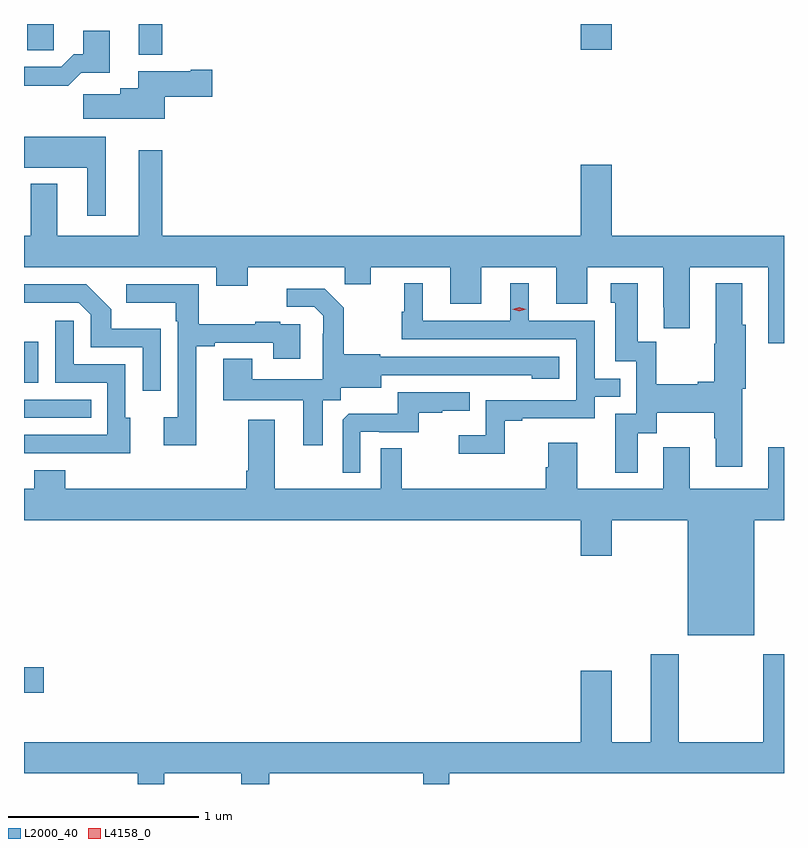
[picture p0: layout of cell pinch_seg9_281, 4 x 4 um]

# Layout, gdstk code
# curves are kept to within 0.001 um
import gdstk
lib = gdstk.Library(unit=1e-6, precision=1e-09)
def R(c, l, rs):  # rectangles x0, y0, x1, y1
    for r in rs: c.add(gdstk.rectangle(r[:2], r[2:], *l))
def P(c, l, *ps):  # polygons
    for p in ps: c.add(gdstk.Polygon(p, *l))
L2000_40 = (2000, 40)
L4158_0 = (4158, 0)

pinch_seg9_281 = lib.new_cell('pinch_seg9_281')
R(pinch_seg9_281, L2000_40, [(449.79,1186.187,449.893,1186.322), (449.79,1187.634,450.143,1187.73), (449.79,1187.819,449.866,1188.034), (450.395,1189.544,450.517,1189.707), (449.807,1189.57,449.946,1189.707), (452.72,1189.572,452.884,1189.707)])
P(pinch_seg9_281, L2000_40, [(450.092,1189.451),(450.241,1189.451),(450.241,1189.672),(450.101,1189.672),(450.101,1189.549),(450.052,1189.549),(449.985,1189.482),(449.79,1189.482),(449.79,1189.382),(450.023,1189.382)],
  [(450.532,1189.325),(450.781,1189.325),(450.781,1189.467),(450.668,1189.467),(450.668,1189.459),(450.392,1189.459),(450.392,1189.369),(450.296,1189.369),(450.296,1189.337),(450.102,1189.337),(450.102,1189.208),(450.532,1189.208)],
  [(450.22,1189.114),(449.79,1189.114),(449.79,1188.95),(450.122,1188.95),(450.122,1188.699),(450.22,1188.699)],
  [(453.79,1188.592),(452.884,1188.592),(452.884,1188.967),(452.72,1188.967),(452.72,1188.592),(450.517,1188.592),(450.517,1189.042),(450.395,1189.042),(450.395,1188.592),(449.965,1188.592),(449.965,1188.865),(449.825,1188.865),(449.825,1188.592),(449.79,1188.592),(449.79,1188.428),(450.803,1188.428),(450.803,1188.329),(450.967,1188.329),(450.967,1188.428),(451.477,1188.428),(451.477,1188.338),(451.615,1188.338),(451.615,1188.428),(452.033,1188.428),(452.033,1188.234),(452.197,1188.234),(452.197,1188.428),(452.591,1188.428),(452.591,1188.234),(452.755,1188.234),(452.755,1188.428),(453.155,1188.428),(453.155,1188.217),(453.158,1188.217),(453.158,1188.105),(453.295,1188.105),(453.295,1188.428),(453.707,1188.428),(453.707,1188.027),(453.79,1188.027)],
  [(452.319,1187.619),(452.413,1187.619),(452.413,1187.631),(452.793,1187.631),(452.793,1187.745),(452.927,1187.745),(452.927,1187.841),(452.793,1187.841),(452.793,1188.144),(452.446,1188.144),(452.446,1188.343),(452.348,1188.343),(452.348,1188.144),(451.888,1188.144),(451.888,1188.343),(451.79,1188.343),(451.79,1188.192),(451.779,1188.192),(451.779,1188.048),(452.697,1188.048),(452.697,1187.727),(452.22,1187.727),(452.22,1187.542),(452.079,1187.542),(452.079,1187.444),(452.319,1187.444)],
  [(453.019,1187.554),(453.121,1187.554),(453.121,1187.66),(453.424,1187.66),(453.424,1187.526),(453.431,1187.526),(453.431,1187.376),(453.571,1187.376),(453.571,1187.787),(453.589,1187.787),(453.589,1188.123),(453.571,1188.123),(453.571,1188.343),(453.431,1188.343),(453.431,1188.023),(453.424,1188.023),(453.424,1187.825),(453.335,1187.825),(453.335,1187.812),(453.117,1187.812),(453.117,1188.035),(453.019,1188.035),(453.019,1188.343),(452.879,1188.343),(452.879,1188.24),(452.903,1188.24),(452.903,1187.931),(453.012,1187.931),(453.012,1187.655),(452.903,1187.655),(452.903,1187.346),(453.019,1187.346)],
  [(450.51,1188.103),(450.249,1188.103),(450.249,1188.206),(450.118,1188.336),(449.79,1188.336),(449.79,1188.239),(450.078,1188.24),(450.141,1188.177),(450.141,1188.006),(450.414,1188.006),(450.414,1187.778),(450.51,1187.778)],
  [(450.697,1188.012),(450.793,1188.012),(450.793,1188.03),(451.103,1188.03),(451.103,1187.946),(451.243,1187.946),(451.243,1188.126),(451.139,1188.126),(451.139,1188.139),(451.007,1188.139),(451.007,1188.128),(450.709,1188.128),(450.709,1188.336),(450.327,1188.336),(450.327,1188.239),(450.588,1188.239),(450.588,1188.143),(450.6,1188.143),(450.6,1187.638),(450.525,1187.638),(450.525,1187.49),(450.697,1187.49)],
  [(451.363,1187.728),(451.458,1187.728),(451.458,1187.792),(451.669,1187.792),(451.669,1187.859),(452.463,1187.858),(452.463,1187.84),(452.608,1187.84),(452.608,1187.955),(451.665,1187.955),(451.665,1187.968),(451.473,1187.968),(451.473,1188.213),(451.373,1188.313),(451.173,1188.313),(451.173,1188.219),(451.317,1188.219),(451.364,1188.172),(451.364,1188.077),(451.362,1188.077),(451.362,1187.836),(450.991,1187.836),(450.991,1187.945),(450.839,1187.945),(450.839,1187.726),(451.259,1187.726),(451.259,1187.49),(451.363,1187.49)],
  [(450.349,1187.634),(450.324,1187.634),(450.324,1187.916),(450.051,1187.916),(450.051,1188.145),(449.955,1188.145),(449.955,1187.82),(450.228,1187.82),(450.228,1187.544),(449.79,1187.544),(449.79,1187.448),(450.131,1187.448),(450.131,1187.447),(450.349,1187.447)],
  [(451.56,1187.562),(451.66,1187.562),(451.66,1187.559),(451.868,1187.559),(451.868,1187.661),(451.991,1187.661),(451.991,1187.672),(452.135,1187.672),(452.135,1187.769),(451.758,1187.769),(451.758,1187.657),(451.499,1187.657),(451.467,1187.625),(451.467,1187.345),(451.56,1187.345)],
  [(453.634,1187.096),(453.79,1187.096),(453.79,1187.479),(453.707,1187.479),(453.707,1187.26),(453.295,1187.26),(453.295,1187.479),(453.155,1187.479),(453.155,1187.26),(452.701,1187.26),(452.701,1187.503),(452.549,1187.503),(452.549,1187.373),(452.537,1187.373),(452.537,1187.26),(451.777,1187.26),(451.777,1187.474),(451.668,1187.474),(451.668,1187.26),(451.111,1187.26),(451.111,1187.623),(450.971,1187.623),(450.971,1187.356),(450.959,1187.356),(450.959,1187.26),(450.007,1187.26),(450.007,1187.359),(449.843,1187.359),(449.843,1187.26),(449.79,1187.26),(449.79,1187.096),(452.72,1187.096),(452.72,1186.908),(452.884,1186.908),(452.884,1187.096),(453.284,1187.096),(453.284,1186.49),(453.634,1186.49)],
  [(450.529,1185.764),(450.934,1185.764),(450.934,1185.707),(451.081,1185.707),(451.081,1185.764),(451.89,1185.764),(451.89,1185.707),(452.029,1185.707),(452.029,1185.764),(453.79,1185.764),(453.79,1186.39),(453.682,1186.39),(453.682,1185.928),(453.237,1185.928),(453.237,1186.39),(453.089,1186.39),(453.089,1185.928),(452.884,1185.928),(452.884,1186.303),(452.72,1186.303),(452.72,1185.928),(449.79,1185.928),(449.79,1185.764),(450.389,1185.764),(450.389,1185.707),(450.529,1185.707)])
P(pinch_seg9_281, L4158_0, [(452.397,1188.196),(452.361,1188.206),(452.361,1188.206),(452.361,1188.207),(452.397,1188.216),(452.433,1188.207),(452.433,1188.206),(452.433,1188.206)])

lib.write_gds('pinch_seg9_281.gds')
